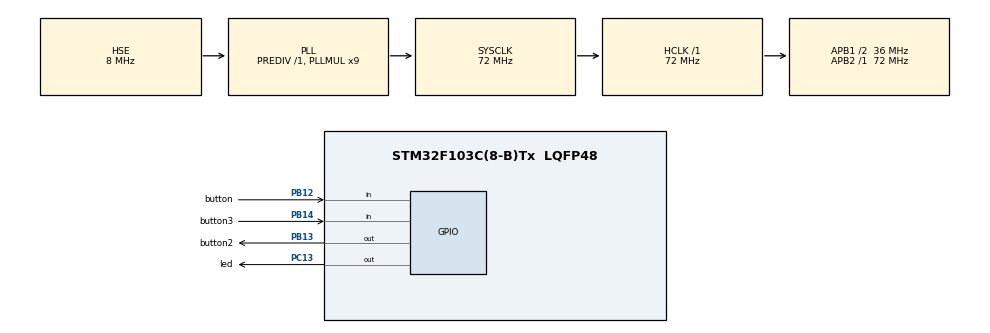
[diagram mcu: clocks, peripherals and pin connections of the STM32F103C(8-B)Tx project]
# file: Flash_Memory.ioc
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Mcu.Family=STM32F1
Mcu.Name=STM32F103C(8-B)Tx
Mcu.Package=LQFP48
NVIC.PriorityGroup=NVIC_PRIORITYGROUP_4
PA13.Mode=Serial_Wire
PA13.Signal=SYS_JTMS-SWDIO
PA14.Mode=Serial_Wire
PA14.Signal=SYS_JTCK-SWCLK
PB12.GPIO_Label=button
PB12.Signal=GPIO_Input
PB13.GPIO_Label=button2
PB13.Signal=GPIO_Output
PB14.GPIO_Label=button3
PB14.Signal=GPIO_Input
PC13-TAMPER-RTC.GPIO_Label=led
PC13-TAMPER-RTC.Signal=GPIO_Output
PD0-OSC_IN.Mode=HSE-External-Oscillator
PD0-OSC_IN.Signal=RCC_OSC_IN
PD1-OSC_OUT.Mode=HSE-External-Oscillator
PD1-OSC_OUT.Signal=RCC_OSC_OUT
ProjectManager.HeapSize=0x200
ProjectManager.StackSize=0x400
ProjectManager.TargetToolchain=MDK-ARM V5.32
RCC.AHBFreq_Value=72000000
RCC.APB1CLKDivider=RCC_HCLK_DIV2
RCC.APB1Freq_Value=36000000
RCC.APB1TimFreq_Value=72000000
RCC.APB2Freq_Value=72000000
RCC.APB2TimFreq_Value=72000000
RCC.HCLKFreq_Value=72000000
RCC.PLLMUL=RCC_PLL_MUL9
RCC.PLLSourceVirtual=RCC_PLLSOURCE_HSE
RCC.SYSCLKFreq_VALUE=72000000
RCC.SYSCLKSource=RCC_SYSCLKSOURCE_PLLCLK
RCC.USBFreq_Value=72000000
board=custom

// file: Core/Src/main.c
/* USER CODE BEGIN Header */
/**
  ******************************************************************************
  * @file           : main.c
  * @brief          : Main program body
  ******************************************************************************
  * @attention
  *
  * <h2><center>&copy; Copyright (c) 2021 STMicroelectronics.
  * All rights reserved.</center></h2>
  *
  * This software component is licensed by ST under BSD 3-Clause license,
  * the "License"; You may not use this file except in compliance with the
  * License. You may obtain a copy of the License at:
  *                        opensource.org/licenses/BSD-3-Clause
  *
  ******************************************************************************
  */
/* USER CODE END Header */
#include "main.h"

/* USER CODE BEGIN Includes */
//#include "stm32f10x.h"
/* USER CODE END Includes */

/* USER CODE BEGIN PV */
uint16_t data2=0,flash_data,data3=1;
uint16_t Read_Data;

/* USER CODE END PV */

void SystemClock_Config(void);
static void MX_GPIO_Init(void);
/* USER CODE BEGIN PFP */
uint16_t Read_Flash(uint32_t adr)
{
uint16_t*Pntr=(uint16_t*)adr;
	return(*Pntr);
}

void Erase_Flash (uint32_t adr)
{
	FLASH->KEYR=0x45670123;
	FLASH->KEYR=0xCDEF89AB;
	FLASH->CR|=0x00000002;
	FLASH->AR=adr;
	FLASH->CR|=0x00000040;
	while((FLASH->SR&0x00000001));
	FLASH->CR&=~0x00000042;
	FLASH->CR=0x00000080;
}
void Write_Flash(uint32_t adr,uint16_t data2)
{
	FLASH->KEYR=0x45670123;
	FLASH->KEYR=0xCDEF89AB;
	FLASH->CR|=0x00000001;
	*(__IO uint16_t*)adr=data2;
	while((FLASH->SR&0x00000001));
	FLASH->CR=0x00000080;
}

/* USER CODE END PFP */

int main(void)
{

  /* MCU Configuration--------------------------------------------------------*/

  /* Reset of all peripherals, Initializes the Flash interface and the Systick. */
  HAL_Init();

  /* Configure the system clock */
  SystemClock_Config();

  /* Initialize all configured peripherals */
  MX_GPIO_Init();

  /* Infinite loop */
  /* USER CODE BEGIN WHILE */
  while (1)
  {
			if(HAL_GPIO_ReadPin(button2_GPIO_Port,button2_Pin)==1){
	while (HAL_GPIO_ReadPin(button2_GPIO_Port,button2_Pin) ==1){HAL_Delay(50);}
	data2++;

}

			if(HAL_GPIO_ReadPin(button_GPIO_Port,button_Pin)==1){
		while (HAL_GPIO_ReadPin(button_GPIO_Port,button_Pin) ==1){HAL_Delay(50);}

		Write_Flash(0x0801FC00,data2);

	}
	if(HAL_GPIO_ReadPin(button3_GPIO_Port,button3_Pin)==1){
while(HAL_GPIO_ReadPin(button3_GPIO_Port,button3_Pin)==1){HAL_Delay(50);}
Erase_Flash(0x0801FC00);
}
	flash_data = Read_Flash(0x0801FC00);

    /* USER CODE END WHILE */

  }
}

void SystemClock_Config(void)
{
  RCC_OscInitTypeDef RCC_OscInitStruct = {0};
  RCC_ClkInitTypeDef RCC_ClkInitStruct = {0};

  /** Initializes the RCC Oscillators according to the specified parameters
  * in the RCC_OscInitTypeDef structure.
  */
  RCC_OscInitStruct.OscillatorType = RCC_OSCILLATORTYPE_HSE;
  RCC_OscInitStruct.HSEState = RCC_HSE_ON;
  RCC_OscInitStruct.HSEPredivValue = RCC_HSE_PREDIV_DIV1;
  RCC_OscInitStruct.HSIState = RCC_HSI_ON;
  RCC_OscInitStruct.PLL.PLLState = RCC_PLL_ON;
  RCC_OscInitStruct.PLL.PLLSource = RCC_PLLSOURCE_HSE;
  RCC_OscInitStruct.PLL.PLLMUL = RCC_PLL_MUL9;
  if (HAL_RCC_OscConfig(&RCC_OscInitStruct) != HAL_OK)
  {
    Error_Handler();
  }
  /** Initializes the CPU, AHB and APB buses clocks
  */
  RCC_ClkInitStruct.ClockType = RCC_CLOCKTYPE_HCLK|RCC_CLOCKTYPE_SYSCLK
                              |RCC_CLOCKTYPE_PCLK1|RCC_CLOCKTYPE_PCLK2;
  RCC_ClkInitStruct.SYSCLKSource = RCC_SYSCLKSOURCE_PLLCLK;
  RCC_ClkInitStruct.AHBCLKDivider = RCC_SYSCLK_DIV1;
  RCC_ClkInitStruct.APB1CLKDivider = RCC_HCLK_DIV2;
  RCC_ClkInitStruct.APB2CLKDivider = RCC_HCLK_DIV1;

  if (HAL_RCC_ClockConfig(&RCC_ClkInitStruct, FLASH_LATENCY_2) != HAL_OK)
  {
    Error_Handler();
  }
}

static void MX_GPIO_Init(void)
{
  GPIO_InitTypeDef GPIO_InitStruct = {0};

  /* GPIO Ports Clock Enable */
  __HAL_RCC_GPIOC_CLK_ENABLE();
  __HAL_RCC_GPIOD_CLK_ENABLE();
  __HAL_RCC_GPIOB_CLK_ENABLE();
  __HAL_RCC_GPIOA_CLK_ENABLE();

  /*Configure GPIO pin Output Level */
  HAL_GPIO_WritePin(led_GPIO_Port, led_Pin, GPIO_PIN_RESET);

  /*Configure GPIO pin Output Level */
  HAL_GPIO_WritePin(button2_GPIO_Port, button2_Pin, GPIO_PIN_RESET);

  /*Configure GPIO pin : led_Pin */
  GPIO_InitStruct.Pin = led_Pin;
  GPIO_InitStruct.Mode = GPIO_MODE_OUTPUT_PP;
  GPIO_InitStruct.Pull = GPIO_NOPULL;
  GPIO_InitStruct.Speed = GPIO_SPEED_FREQ_LOW;
  HAL_GPIO_Init(led_GPIO_Port, &GPIO_InitStruct);

  /*Configure GPIO pins : button_Pin button3_Pin */
  GPIO_InitStruct.Pin = button_Pin|button3_Pin;
  GPIO_InitStruct.Mode = GPIO_MODE_INPUT;
  GPIO_InitStruct.Pull = GPIO_NOPULL;
  HAL_GPIO_Init(GPIOB, &GPIO_InitStruct);

  /*Configure GPIO pin : button2_Pin */
  GPIO_InitStruct.Pin = button2_Pin;
  GPIO_InitStruct.Mode = GPIO_MODE_OUTPUT_PP;
  GPIO_InitStruct.Pull = GPIO_NOPULL;
  GPIO_InitStruct.Speed = GPIO_SPEED_FREQ_LOW;
  HAL_GPIO_Init(button2_GPIO_Port, &GPIO_InitStruct);

}

void Error_Handler(void)
{
  __disable_irq();
  while (1)
  {
  }
}

/************************ (C) COPYRIGHT STMicroelectronics *****END OF FILE****/
